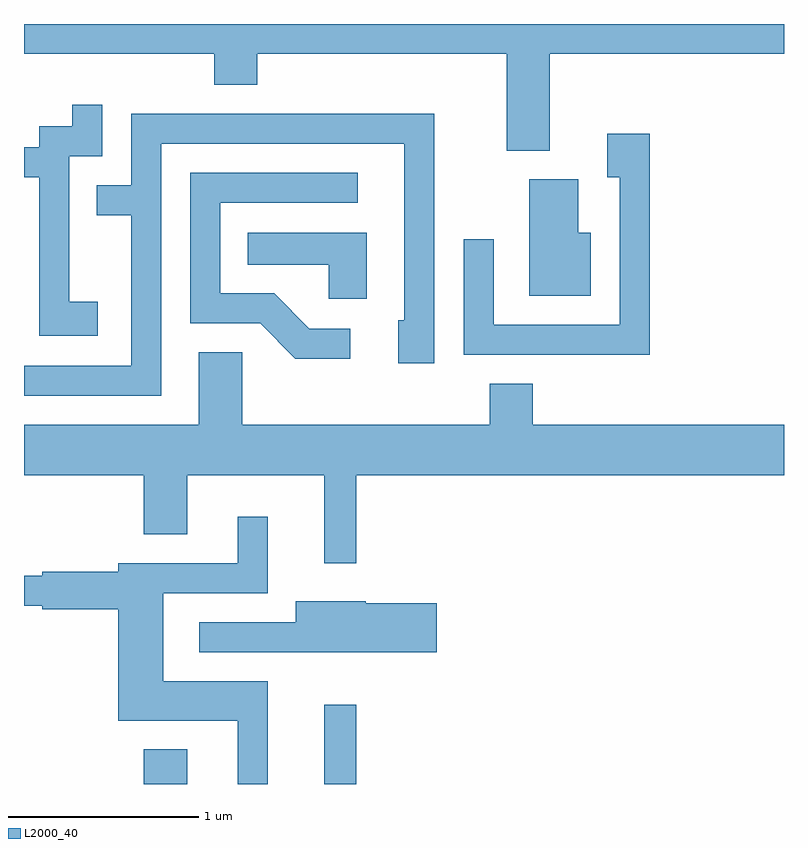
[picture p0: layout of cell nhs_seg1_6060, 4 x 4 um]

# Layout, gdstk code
import gdstk
lib = gdstk.Library(unit=1e-6, precision=1e-09)
def R(c, l, rs):  # rectangles x0, y0, x1, y1
    for r in rs: c.add(gdstk.rectangle(r[:2], r[2:], *l))
def P(c, l, *ps):  # polygons
    for p in ps: c.add(gdstk.Polygon(p, *l))
L2000_40 = (2000, 40)

nhs_seg1_6060 = lib.new_cell('nhs_seg1_6060')
R(nhs_seg1_6060, L2000_40, [(368.241,915.712,368.469,915.894), (369.191,915.712,369.359,916.128)])
P(nhs_seg1_6060, L2000_40, [(367.611,919.556),(368.611,919.556),(368.611,919.391),(368.839,919.391),(368.839,919.556),(370.151,919.556),(370.151,919.046),(370.379,919.046),(370.379,919.556),(371.611,919.556),(371.611,919.712),(367.611,919.712)],
  [(367.999,918.249),(367.849,918.249),(367.849,919.016),(368.024,919.016),(368.024,919.288),(367.866,919.288),(367.866,919.174),(367.691,919.174),(367.691,919.064),(367.611,919.064),(367.611,918.906),(367.691,918.906),(367.691,918.071),(367.999,918.071)],
  [(368.334,919.081),(369.611,919.081),(369.611,918.154),(369.581,918.154),(369.581,917.926),(369.769,917.926),(369.769,919.239),(368.176,919.239),(368.176,918.864),(367.993,918.864),(367.993,918.706),(368.176,918.706),(368.176,917.914),(367.611,917.914),(367.611,917.756),(368.334,917.756)],
  [(370.904,919.134),(370.681,919.134),(370.681,918.906),(370.746,918.906),(370.746,918.129),(370.084,918.129),(370.084,918.578),(369.926,918.578),(369.926,917.971),(370.904,917.971)],
  [(369.328,918.109),(369.112,918.109),(368.927,918.294),(368.644,918.294),(368.644,918.771),(369.368,918.771),(369.368,918.929),(368.486,918.929),(368.486,918.136),(368.854,918.136),(369.039,917.951),(369.328,917.951)],
  [(370.594,918.614),(370.529,918.614),(370.529,918.894),(370.271,918.894),(370.271,918.281),(370.594,918.281)],
  [(369.414,918.614),(368.788,918.614),(368.788,918.446),(369.216,918.446),(369.216,918.266),(369.414,918.266)],
  [(369.359,917.336),(371.611,917.336),(371.611,917.604),(370.289,917.604),(370.289,917.819),(370.061,917.819),(370.061,917.604),(368.759,917.604),(368.759,917.984),(368.531,917.984),(368.531,917.604),(367.611,917.604),(367.611,917.336),(368.241,917.336),(368.241,917.026),(368.469,917.026),(368.469,917.336),(369.191,917.336),(369.191,916.873),(369.359,916.873)],
  [(368.894,916.254),(368.344,916.254),(368.344,916.716),(368.894,916.716),(368.894,917.118),(368.736,917.118),(368.736,916.874),(368.106,916.874),(368.106,916.829),(367.706,916.829),(367.706,916.809),(367.611,916.809),(367.611,916.651),(367.706,916.651),(367.706,916.631),(368.106,916.631),(368.106,916.046),(368.736,916.046),(368.736,915.712),(368.894,915.712)],
  [(369.784,916.664),(369.41,916.664),(369.41,916.674),(369.041,916.674),(369.041,916.564),(368.533,916.564),(368.533,916.406),(369.784,916.406)])

lib.write_gds('nhs_seg1_6060.gds')
